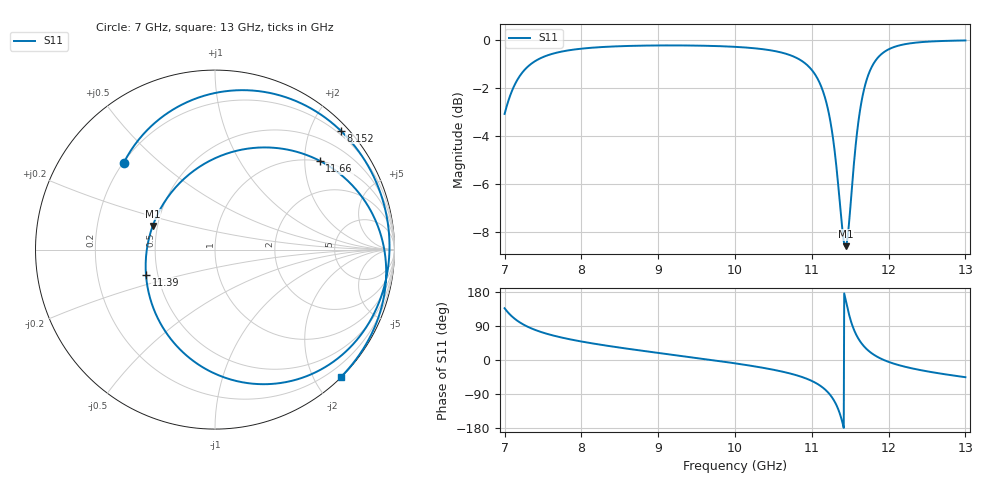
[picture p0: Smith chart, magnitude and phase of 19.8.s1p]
! TOUCHSTONE file generated by CST MICROWAVE STUDIO
! Date and time: Wed Sep 25 16:55:54 2024
! Project name: unit_cell_optimization_L=10.0_Wgap=1.0_Wline=1.42.cst
! Parameters = {A=1.40924; AB_sqInv=0.503371; B=0.025494; C0=2.097; Cj=0.183267; Cp=0.075; Ct=0.258061; ImZ=-61.6735; L=10; L1=0.3; L_back=16.1559; Lp=0.35; Lpad=0.75; M=1.199; R=5.41; R_cav=0.5; R_sogl=4.36377; ReZ=2.72324; Rt=2.72324; V=19.8; Vj=2.984; W=10; W1=-0.15; W2=-0.15; Wcoop=3.29; Wgap=1;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
! Header version: 2024
! Port assignment regex: !\s*Touchstone port\s*([0-9]+)\s*=\s*(CST MWS port|CST DES external port|CST DES block port)\s*(.+)\s* \(\"(.*)\"\)(\s*mode\s*([0-9]+))?.*
! Touchstone port assignment:
! Touchstone port 1 = CST MWS port Zmax ("") mode 1
! S-Parameters are not renormalized. Unphysical impedance of 50 will be written to the file.
# GHz S RI R 50
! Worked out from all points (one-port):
!   1001 points, 7 GHz to 13 GHz, reference per port
!   lowest |S11| = -8.6 dB at 11.44 GHz (marker M1), VSWR 2.18
!   |S11| at or under -10 dB: nowhere
!   S11 on the Smith chart (normalised r, x): 7 GHz: 0.20, +0.38; 8.152 GHz: 0.13, +2.50; 11.39 GHz: 0.43, -0.15; 11.66 GHz: 0.99, +2.37; 13 GHz: 0.01, -2.39
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7  -0.5094 0.4818
7.126  -0.2708 0.7561
7.258  -0.032 0.8651
7.48  0.2605 0.8806
7.75  0.4886 0.8107
8.152  0.6994 0.6635
8.5  0.8172 0.5239
9.25  0.953 0.203
10  0.9565 -0.1474
10.432  0.8772 -0.3737
10.75  0.7359 -0.5614
10.996  0.4998 -0.7092
11.098  0.3292 -0.7474
11.188  0.1202 -0.7324
11.248  -0.0508 -0.6657
11.296  -0.1944 -0.5567
11.344  -0.3191 -0.382
11.392  -0.3845 -0.1416
11.44  -0.3474 0.1312
11.5  -0.1438 0.4193
11.572  0.2129 0.5662
11.662  0.584 0.4945
11.752  0.7958 0.3231
11.866  0.9141 0.1122
12.04  0.9539 -0.1304
12.25  0.9256 -0.3294
12.586  0.8347 -0.5392
13  0.701 -0.7102
